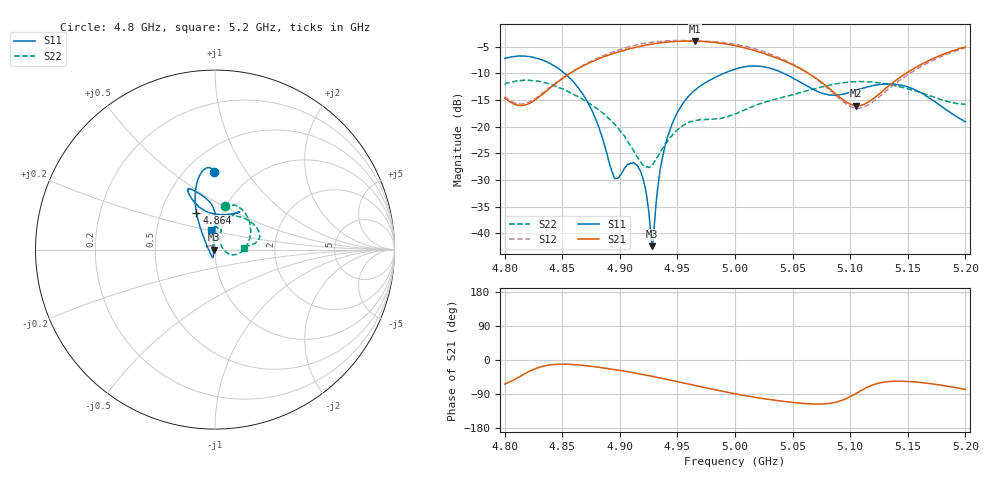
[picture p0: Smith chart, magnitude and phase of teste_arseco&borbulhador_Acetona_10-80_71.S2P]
! Network Analyzer HP8722D
! Hewlett-Packard
! Data name: Linha & Wilkinson
! Saver's name: Rodrigo Anjos
! Comments: Teste da utilização de aquisição
! continua pelo VNA HP8722D
! Time and date: 25/4/2025 15:51
!  Frequency  S11  S21  S12  S22
# HZ  S  MA R 50
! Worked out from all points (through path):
!   401 points, 4.8 GHz to 5.2 GHz, reference 50 ohm
!   highest |S21| = -3.96 dB at 4.965 GHz (marker M1); lowest = -16.1 dB at 5.105 GHz (marker M2)
!   lowest |S11| = -42.4 dB at 4.928 GHz (marker M3), VSWR 1.02, Z = 49.3 - j0.113 ohm
!   |S11| at or under -10 dB: 4.852 GHz to 4.991 GHz (138.6 MHz wide, 2.82 % of centre); 5.042 GHz to end of sweep
!   |S22| runs from -27.7 to -11.3 dB; largest |S21 - S12| = 1.2
!   S11 on the Smith chart (normalised r, x): 4.8 GHz: 0.68, +0.73; 4.864 GHz: 0.75, +0.33; 5.2 GHz: 0.94, +0.21
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4.8e9  0.4348 90.6  0.1849 -63.6  0.1903 69.9  0.2482 76.9
4.82e9  0.453 96.8  0.1622 -32.1  0.1676 98.7  0.2715 61.4
4.864e9  0.2308 116.6  0.3506 -12.9  0.3536 120.9  0.1891 11.9
4.867e9  0.2077 118.4  0.3649 -14.0  0.3682 120.5  0.1823 8.5
4.88e9  0.1107 128.8  0.4233 -18.6  0.434 118.2  0.1475 -5.4
4.895e9  0.03313 -173.3  0.4861 -25.0  0.5028 113.7  0.1064 -15.9
4.91e9  0.04526 -106.7  0.5398 -32.7  0.5648 107.1  0.06445 -14.1
4.917e9  0.03964 -103.8  0.5617 -36.5  0.5899 103.4  0.04831 -0.5
4.922e9  0.02686 -106.7  0.5763 -39.3  0.6046 100.6  0.04228 16.1
4.928e9  0.007566 -171.3  0.5927 -43.0  0.6187 97.0  0.044 41.2
4.93e9  0.01188 125.7  0.5974 -44.4  0.6209 95.5  0.0466 48.9
4.934e9  0.03252 100.4  0.6044 -46.9  0.6283 93.2  0.05495 59.2
4.939e9  0.06359 93.2  0.6153 -50.0  0.6357 89.9  0.06739 66.0
4.946e9  0.1095 90.0  0.6232 -54.5  0.6396 85.5  0.08467 70.0
4.965e9  0.2181 91.0  0.6337 -67.3  0.6364 73.3  0.1136 71.9
5e9  0.3455 109.1  0.574 -89.3  0.5923 50.7  0.1316 88.4
5.029e9  0.3558 115.1  0.468 -103.7  0.4851 34.1  0.1729 85.7
5.067e9  0.2258 105.1  0.2999 -115.9  0.2971 23.6  0.2224 57.0
5.105e9  0.219 65.1  0.1565 -88.4  0.1486 54.7  0.2632 25.4
5.134e9  0.2501 57.1  0.2424 -56.6  0.2277 88.8  0.2478 12.3
5.169e9  0.1844 69.7  0.4196 -62.2  0.4036 84.7  0.1942 6.8
5.2e9  0.1106 100.6  0.5569 -77.5  0.546 70.0  0.161 3.7
